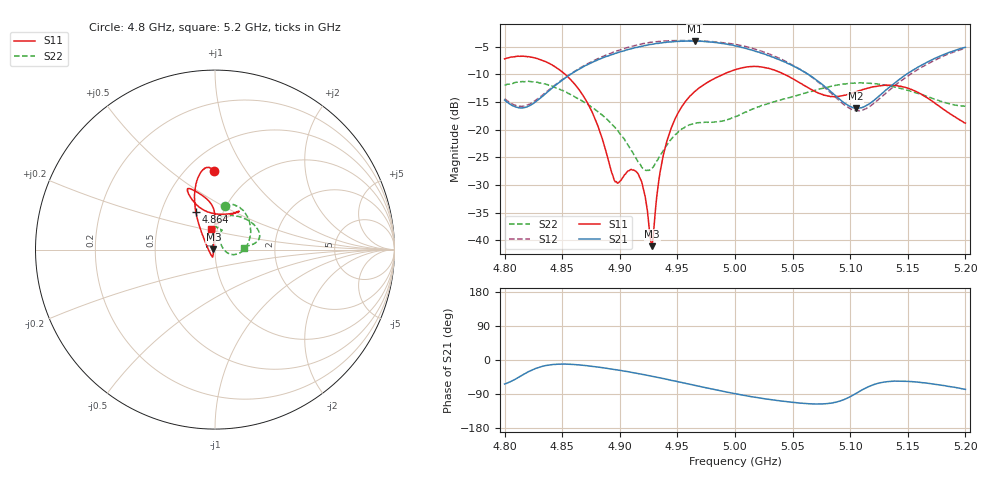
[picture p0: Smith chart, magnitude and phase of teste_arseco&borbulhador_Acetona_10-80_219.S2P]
! Network Analyzer HP8722D
! Hewlett-Packard
! Data name: Linha & Wilkinson
! Saver's name: Rodrigo Anjos
! Comments: Teste da utilização de aquisição
! continua pelo VNA HP8722D
! Time and date: 25/4/2025 17:05
!  Frequency  S11  S21  S12  S22
# HZ  S  MA R 50
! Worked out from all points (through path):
!   401 points, 4.8 GHz to 5.2 GHz, reference 50 ohm
!   highest |S21| = -3.99 dB at 4.965 GHz (marker M1); lowest = -16.1 dB at 5.105 GHz (marker M2)
!   lowest |S11| = -41.1 dB at 4.928 GHz (marker M3), VSWR 1.02, Z = 49.1 + j0.179 ohm
!   |S11| at or under -10 dB: 4.852 GHz to 4.99 GHz (137.5 MHz wide, 2.79 % of centre); 5.043 GHz to end of sweep
!   |S22| runs from -27.4 to -11.3 dB; largest |S21 - S12| = 1.2
!   S11 on the Smith chart (normalised r, x): 4.8 GHz: 0.67, +0.72; 4.864 GHz: 0.75, +0.33; 5.2 GHz: 0.93, +0.21
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4.8e9  0.4354 90.9  0.1849 -63.5  0.1897 69.9  0.2503 77.3
4.82e9  0.4547 97.3  0.1614 -32.0  0.1671 98.6  0.2736 61.5
4.843e9  0.3739 106.7  0.2461 -11.9  0.2493 118.9  0.2417 36.6
4.864e9  0.2341 117.1  0.3481 -12.7  0.3525 121.1  0.1895 12.0
4.867e9  0.2111 118.8  0.3626 -13.8  0.3673 120.6  0.1822 8.5
4.88e9  0.1143 129.0  0.4222 -18.2  0.4325 118.3  0.1479 -5.0
4.896e9  0.03374 -169.8  0.488 -25.4  0.5077 113.2  0.1041 -15.6
4.91e9  0.04368 -109.4  0.5378 -32.5  0.5636 107.2  0.06472 -12.5
4.917e9  0.03744 -106.6  0.5607 -36.5  0.5876 103.5  0.04954 0.0
4.921e9  0.0277 -111.5  0.5722 -38.6  0.5995 101.3  0.0442 13.3
4.928e9  0.008848 168.1  0.5898 -42.9  0.6155 97.1  0.04479 41.8
4.934e9  0.03557 101.6  0.6019 -46.8  0.6269 93.2  0.05616 57.8
4.939e9  0.06628 94.2  0.6125 -49.7  0.6331 89.9  0.06782 65.5
4.946e9  0.1118 90.7  0.6219 -54.4  0.6364 85.6  0.08505 69.4
4.965e9  0.2204 91.4  0.6316 -66.9  0.6364 73.4  0.1143 70.7
5e9  0.3474 109.3  0.5703 -89.0  0.5902 50.8  0.1303 88.4
5.029e9  0.3581 115.3  0.466 -103.7  0.4846 34.2  0.1718 85.6
5.067e9  0.2279 105.6  0.2997 -115.8  0.2965 23.7  0.2218 57.0
5.105e9  0.2198 66.1  0.1559 -88.3  0.1479 54.7  0.2634 25.5
5.134e9  0.2518 58.0  0.2415 -56.6  0.227 88.7  0.2481 12.3
5.168e9  0.1903 70.2  0.4131 -61.6  0.3961 85.3  0.1967 6.9
5.2e9  0.1144 101.0  0.5536 -77.5  0.5428 70.1  0.1625 3.7
